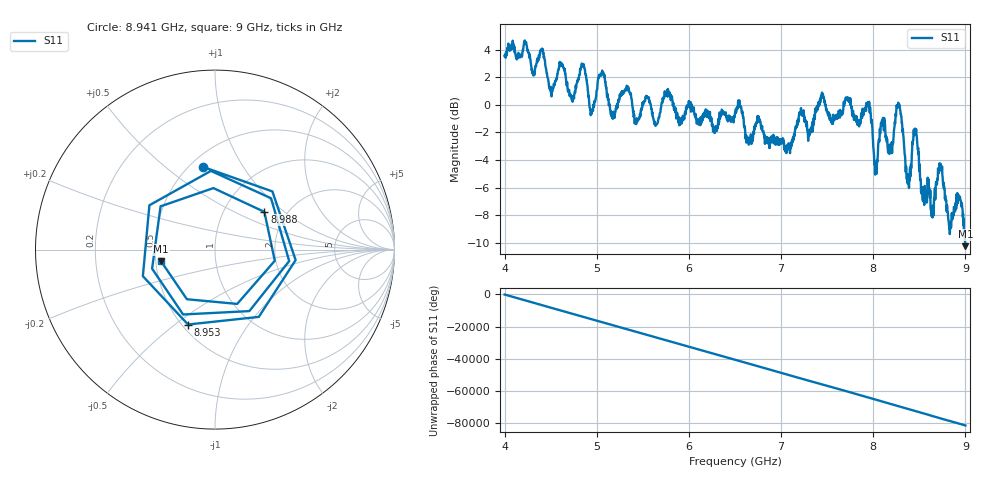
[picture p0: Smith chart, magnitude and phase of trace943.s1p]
! Created with skrf 1.8.0 (http://scikit-rf.org).
# Hz S RI R 50.0
!freq ReS11 ImS11
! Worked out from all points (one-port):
!   1601 points, 4 GHz to 9 GHz, reference 50 ohm
!   lowest |S11| = -10.2 dB at 9 GHz (marker M1), VSWR 1.89, Z = 26.7 - j3.81 ohm
!   |S11| at or under -10 dB: 8.997461 GHz to end of sweep
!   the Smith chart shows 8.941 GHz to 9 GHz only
!   S11 on the Smith chart (normalised r, x): 8.941 GHz: 0.58, +0.68; 8.953 GHz: 0.54, -0.56; 8.988 GHz: 1.55, +0.74; 9 GHz: 0.53, -0.08
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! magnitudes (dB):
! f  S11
! 4 GHz  3.5
! 4.406 GHz  4.1
! 4.506 GHz  0.9
! 4.625 GHz  2.9
! 4.731 GHz  0.3
! 4.853 GHz  2.8
! 4.944 GHz  -0.7
! 5.047 GHz  2.1
! 5.169 GHz  -0.9
! 5.25 GHz  0.7
! 5.875 GHz  -0.8
! 6.5 GHz  -0.6
! 7.125 GHz  -2.7
! 7.444 GHz  0.9
! 7.75 GHz  0.0
! 7.95 GHz  0.2
! 8.025 GHz  -5.0
! 8.275 GHz  -0.1
! 8.375 GHz  -5.6
! 8.453 GHz  -1.7
! 8.544 GHz  -6.5
! 8.647 GHz  -8.0
! 8.728 GHz  -4.5
! 8.834 GHz  -8.9
! 8.941 GHz  -6.7
! 8.953 GHz  -7.1
! 8.988 GHz  -9.2
! 9 GHz  -10.2
